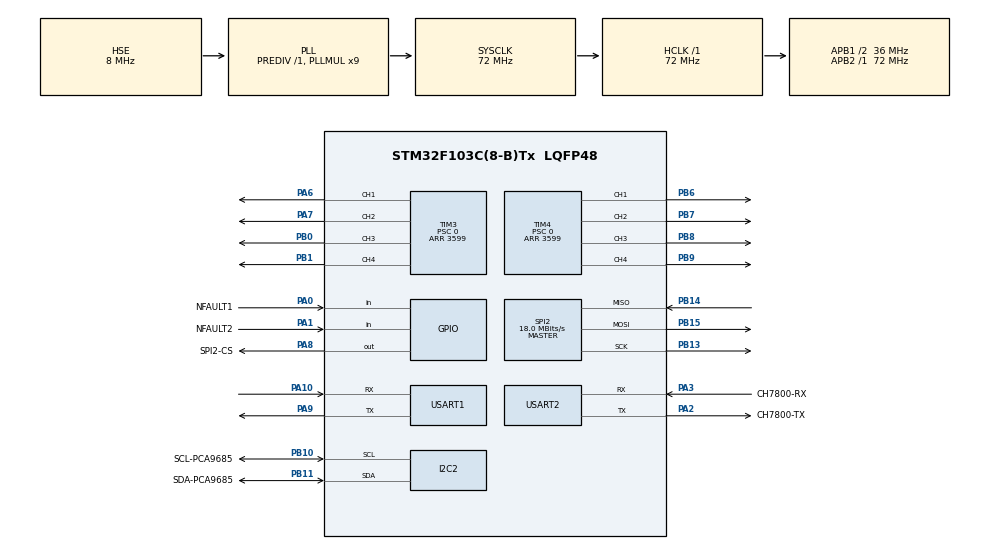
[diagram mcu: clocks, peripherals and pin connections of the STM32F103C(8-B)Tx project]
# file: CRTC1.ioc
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Mcu.Family=STM32F1
Mcu.Name=STM32F103C(8-B)Tx
Mcu.Package=LQFP48
NVIC.PriorityGroup=NVIC_PRIORITYGROUP_4
PA0-WKUP.GPIO_Label=NFAULT1
PA0-WKUP.Signal=GPIO_Input
PA1.GPIO_Label=NFAULT2
PA1.Signal=GPIO_Input
PA10.Mode=Asynchronous
PA10.Signal=USART1_RX
PA13.Mode=Serial_Wire
PA13.Signal=SYS_JTMS-SWDIO
PA14.Mode=Serial_Wire
PA14.Signal=SYS_JTCK-SWCLK
PA2.GPIO_Label=CH7800-TX
PA2.Mode=Asynchronous
PA2.Signal=USART2_TX
PA3.GPIO_Label=CH7800-RX
PA3.Mode=Asynchronous
PA3.Signal=USART2_RX
PA6.Signal=S_TIM3_CH1
PA7.Signal=S_TIM3_CH2
PA8.GPIO_Label=SPI2-CS
PA8.Signal=GPIO_Output
PA9.Mode=Asynchronous
PA9.Signal=USART1_TX
PB0.Signal=S_TIM3_CH3
PB1.Signal=S_TIM3_CH4
PB10.GPIO_Label=SCL-PCA9685
PB10.Mode=I2C
PB10.Signal=I2C2_SCL
PB11.GPIO_Label=SDA-PCA9685
PB11.Mode=I2C
PB11.Signal=I2C2_SDA
PB13.Mode=Full_Duplex_Master
PB13.Signal=SPI2_SCK
PB14.Mode=Full_Duplex_Master
PB14.Signal=SPI2_MISO
PB15.Mode=Full_Duplex_Master
PB15.Signal=SPI2_MOSI
PB6.Signal=S_TIM4_CH1
PB7.Signal=S_TIM4_CH2
PB8.Signal=S_TIM4_CH3
PB9.Signal=S_TIM4_CH4
PD0-OSC_IN.Mode=HSE-External-Oscillator
PD0-OSC_IN.Signal=RCC_OSC_IN
PD1-OSC_OUT.Mode=HSE-External-Oscillator
PD1-OSC_OUT.Signal=RCC_OSC_OUT
ProjectManager.HeapSize=0x200
ProjectManager.StackSize=0x400
ProjectManager.TargetToolchain=MDK-ARM V5.39
RCC.ADCPresc=RCC_ADCPCLK2_DIV6
RCC.AHBFreq_Value=72000000
RCC.APB1CLKDivider=RCC_HCLK_DIV2
RCC.APB1Freq_Value=36000000
RCC.APB1TimFreq_Value=72000000
RCC.APB2Freq_Value=72000000
RCC.APB2TimFreq_Value=72000000
RCC.HCLKFreq_Value=72000000
RCC.PLLMUL=RCC_PLL_MUL9
RCC.PLLSourceVirtual=RCC_PLLSOURCE_HSE
RCC.SYSCLKFreq_VALUE=72000000
RCC.SYSCLKSource=RCC_SYSCLKSOURCE_PLLCLK
RCC.USBFreq_Value=72000000
SH.S_TIM3_CH1.0=TIM3_CH1,PWM Generation1 CH1
SH.S_TIM3_CH2.0=TIM3_CH2,PWM Generation2 CH2
SH.S_TIM3_CH3.0=TIM3_CH3,PWM Generation3 CH3
SH.S_TIM3_CH4.0=TIM3_CH4,PWM Generation4 CH4
SH.S_TIM4_CH1.0=TIM4_CH1,PWM Generation1 CH1
SH.S_TIM4_CH2.0=TIM4_CH2,PWM Generation2 CH2
SH.S_TIM4_CH3.0=TIM4_CH3,PWM Generation3 CH3
SH.S_TIM4_CH4.0=TIM4_CH4,PWM Generation4 CH4
SPI2.BaudRatePrescaler=SPI_BAUDRATEPRESCALER_2
SPI2.CLKPhase=SPI_PHASE_2EDGE
SPI2.CLKPolarity=SPI_POLARITY_HIGH
SPI2.CalculateBaudRate=18.0 MBits/s
SPI2.Direction=SPI_DIRECTION_2LINES
SPI2.Mode=SPI_MODE_MASTER
SPI2.VirtualType=VM_MASTER
TIM3.Channel-PWM\ Generation1\ CH1=TIM_CHANNEL_1
TIM3.Channel-PWM\ Generation2\ CH2=TIM_CHANNEL_2
TIM3.Channel-PWM\ Generation3\ CH3=TIM_CHANNEL_3
TIM3.Channel-PWM\ Generation4\ CH4=TIM_CHANNEL_4
TIM3.Period=3599
TIM3.Prescaler=0
TIM4.Channel-PWM\ Generation1\ CH1=TIM_CHANNEL_1
TIM4.Channel-PWM\ Generation2\ CH2=TIM_CHANNEL_2
TIM4.Channel-PWM\ Generation3\ CH3=TIM_CHANNEL_3
TIM4.Channel-PWM\ Generation4\ CH4=TIM_CHANNEL_4
TIM4.Period=3599
TIM4.Prescaler=0
USART1.VirtualMode=VM_ASYNC
USART2.VirtualMode=VM_ASYNC
board=custom

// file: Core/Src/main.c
/* USER CODE BEGIN Header */
/**
  ******************************************************************************
  * @file           : main.c
  * @brief          : Main program body
  ******************************************************************************
  * @attention
  *
  * Copyright (c) 2026 STMicroelectronics.
  * All rights reserved.
  *
  * This software is licensed under terms that can be found in the LICENSE file
  * in the root directory of this software component.
  * If no LICENSE file comes with this software, it is provided AS-IS.
  *
  ******************************************************************************
  */
/* USER CODE END Header */
#include "main.h"

/* USER CODE BEGIN Includes */
#include <stdio.h>
#include <stdarg.h>
#include "pca9685.h"
#include "drv8833.h"
#include "car_ctrl.h"
#include "ps2.h"
#include "ps2_ctrl.h"
#include "arm_ctrl.h"
/* USER CODE END Includes */

/* USER CODE BEGIN PD */
/* TRYONE 原样搬来的参数（PCA9685 舵机驱动）*/
#define PCA9685_ADDR          (0x40U)     /* A0=A1=A2=000 -> 7-bit 0x40 */
#define PCA9685_FREQ_HZ       ((float)CAR_SERVO_PWM_FREQ_HZ)
/* USER CODE END PD */

I2C_HandleTypeDef hi2c2;

SPI_HandleTypeDef hspi2;

TIM_HandleTypeDef htim3;
TIM_HandleTypeDef htim4;

UART_HandleTypeDef huart1;
UART_HandleTypeDef huart2;

/* USER CODE BEGIN PV */
uint8_t pca9685_ready = 0U;   /* 1 = 初始化成功，可以发命令 */
/* USER CODE END PV */

void SystemClock_Config(void);
static void MX_GPIO_Init(void);
static void MX_I2C2_Init(void);
static void MX_SPI2_Init(void);
static void MX_USART2_UART_Init(void);
static void MX_USART1_UART_Init(void);
static void MX_TIM3_Init(void);
static void MX_TIM4_Init(void);

/* USER CODE BEGIN 0 */
/* ---- USART1 调试打印：PA9 = TX，115200 8N1 ----
 * 写法与 TRYONE 工程一致：先 vsnprintf 到栈上缓冲，再阻塞发送。
 * 单条消息不要超过 UART_TX_BUF，超了会被截断。 */
#define UART_TX_BUF  (160U)

static void UART_Printf(const char *fmt, ...)
{
  char buf[UART_TX_BUF];
  va_list ap;
  int len;

  va_start(ap, fmt);
  len = vsnprintf(buf, sizeof(buf), fmt, ap);
  va_end(ap);

  if (len <= 0)
  {
    return;
  }
  if ((size_t)len >= sizeof(buf))
  {
    len = (int)(sizeof(buf) - 1U);
  }

  (void)HAL_UART_Transmit(&huart1, (uint8_t *)buf, (uint16_t)len, 100U);
}
/* USER CODE END 0 */

int main(void)
{

  /* MCU Configuration--------------------------------------------------------*/

  /* Reset of all peripherals, Initializes the Flash interface and the Systick. */
  HAL_Init();

  /* Configure the system clock */
  SystemClock_Config();

  /* Initialize all configured peripherals */
  MX_GPIO_Init();
  MX_I2C2_Init();
  MX_SPI2_Init();
  MX_USART2_UART_Init();
  MX_USART1_UART_Init();
  MX_TIM3_Init();
  MX_TIM4_Init();
  /* USER CODE BEGIN 2 */
  /* ---- PCA9685 舵机驱动初始化（TRYONE 原样搬来）----
   * I2C2 已由 CubeMX 初始化为 100 kHz，PB10(SCL) / PB11(SDA)。
   * 这里直接对 0x40 发初始化序列：MODE1/MODE2 寄存器 + 50 Hz PWM 频率。
   * 如果板子没接或接线错，pca9685_ready 保持 0，while 循环就不会发命令。 */
  if (PCA9685_Init(&hi2c2, PCA9685_ADDR) == HAL_OK &&
      PCA9685_SetPwmFreq(&hi2c2, PCA9685_ADDR, PCA9685_FREQ_HZ) == HAL_OK &&
      PCA9685_AllOff(&hi2c2, PCA9685_ADDR) == HAL_OK)
  {
    pca9685_ready = 1U;
  }

  /* ---- DRV8833 电机驱动初始化 ----
   * TIM3(左) / TIM4(右) 各 4 路 20 kHz PWM，
   * PA0/PA1 配成下降沿中断（NFAULT 低电平 = 故障）。 */
  DRV8833_Init();

  /* ---- PS2 手柄初始化（GPIO 模拟 SPI，PB13/14/15 + PA8）----
   * PS2_Ctrl_Init() 内部会调用 PS2_Init() 和 PS2_ConfigAnalog()，
   * 把引脚从 CubeMX 的 SPI2 复用功能改成 GPIO，并让手柄进入模拟模式。
   * 摇杆与机械臂按键始终同时生效，无需切换模式。 */
  PS2_Ctrl_Init();

  /* ---- USART1 上电自检快照（PA9=TX / PA10=RX，115200 8N1）---- */
  UART_Printf("\r\n=== CRTC1 boot | DRV8833 %s | PCA9685 %s | PS2 ready ===\r\n",
              DRV8833_VERSION, (pca9685_ready ? "ready" : "NOT FOUND"));

  UART_Printf("[PWM] TIM3 ARR=%u PSC=%u | TIM4 ARR=%u PSC=%u -> 20 kHz, 8 channels started\r\n",
              (unsigned)__HAL_TIM_GET_AUTORELOAD(&htim3), (unsigned)htim3.Instance->PSC,
              (unsigned)__HAL_TIM_GET_AUTORELOAD(&htim4), (unsigned)htim4.Instance->PSC);

  UART_Printf("[FLT] idle levels: PA0/LEFT=%u  PA1/RIGHT=%u  (1=normal, 0=fault or floating)\r\n",
              (unsigned)HAL_GPIO_ReadPin(NFAULT1_GPIO_Port, NFAULT1_Pin),
              (unsigned)HAL_GPIO_ReadPin(NFAULT2_GPIO_Port, NFAULT2_Pin));
  /* USER CODE END 2 */

  /* Infinite loop */
  while (1)
  {

    /* USER CODE BEGIN 3 */
    /* ================= 上层逻辑：PS2 并行控制 =================
     * PS2_Ctrl_Update() 内部流程：
     *   1. PS2_Read() 读手柄
     *   2. 摇杆开车，肩键/叉号同时操作机械臂，SELECT 不参与控制
     *   3. 调抽象命令 Car_Motor* / Car_Servo*
     * 读不到手柄时底盘刹车，舵机保持最后位置；重连后需先松开机械臂按键。 */
    PS2_Ctrl_Update();

    /* ---- USART1 诊断：每 500 ms 打印摇杆、底盘和机械臂指令 ----
     * cnt = nFAULT 下降沿累计次数（真进过几次 EXTI0/EXTI1 中断），
     * pin = 当前引脚电平（1=正常，0=正在报故障或线悬空）。
     * CCR 是真正写进定时器的比较值，有速度时应该是非 0。 */

    {
      static uint32_t d_t0 = 0U;
      uint32_t now = HAL_GetTick();
      const PS2_t *input = PS2_Ctrl_GetInput();
      const arm_ctrl_status_t *arm = Arm_Ctrl_GetStatus();

      if ((now - d_t0) >= 500U)
      {
        d_t0 = now;

        UART_Printf("[PS2] raw LX=%u LY=%u RX=%u ok=%u DZ=%u\r\n",
                    (unsigned)input->LJoy_LR, (unsigned)input->LJoy_UD,
                    (unsigned)input->RJoy_LR, (unsigned)input->ok,
                    (unsigned)PS2_DEADZONE);

        UART_Printf("[DRV] spd=%d,%d,%d,%d | FLT L f=%u n=%u p=%u | R f=%u n=%u p=%u\r\n",
                    DRV8833_GetMotor(DRV8833_MOTOR_LF), DRV8833_GetMotor(DRV8833_MOTOR_LR),
                    DRV8833_GetMotor(DRV8833_MOTOR_RF), DRV8833_GetMotor(DRV8833_MOTOR_RR),
                    (unsigned)DRV8833_GetFault(DRV8833_SIDE_LEFT),
                    (unsigned)DRV8833_GetFaultCount(DRV8833_SIDE_LEFT),
                    (unsigned)HAL_GPIO_ReadPin(NFAULT1_GPIO_Port, NFAULT1_Pin),
                    (unsigned)DRV8833_GetFault(DRV8833_SIDE_RIGHT),
                    (unsigned)DRV8833_GetFaultCount(DRV8833_SIDE_RIGHT),
                    (unsigned)HAL_GPIO_ReadPin(NFAULT2_GPIO_Port, NFAULT2_Pin));

        UART_Printf("[PWM] T3 CCR=%u,%u,%u,%u | T4 CCR=%u,%u,%u,%u\r\n",
                    (unsigned)__HAL_TIM_GET_COMPARE(&htim3, TIM_CHANNEL_1),
                    (unsigned)__HAL_TIM_GET_COMPARE(&htim3, TIM_CHANNEL_2),
                    (unsigned)__HAL_TIM_GET_COMPARE(&htim3, TIM_CHANNEL_3),
                    (unsigned)__HAL_TIM_GET_COMPARE(&htim3, TIM_CHANNEL_4),
                    (unsigned)__HAL_TIM_GET_COMPARE(&htim4, TIM_CHANNEL_1),
                    (unsigned)__HAL_TIM_GET_COMPARE(&htim4, TIM_CHANNEL_2),
                    (unsigned)__HAL_TIM_GET_COMPARE(&htim4, TIM_CHANNEL_3),
                    (unsigned)__HAL_TIM_GET_COMPARE(&htim4, TIM_CHANNEL_4));

        UART_Printf("[ARM] A0x10=%u A1x10=%u A2x10=%u A3x10=%u open=%u ready=%u status=%u\r\n",
                    (unsigned)arm->angle_x10[0],
                    (unsigned)arm->angle_x10[1], (unsigned)arm->angle_x10[2],
                    (unsigned)arm->angle_x10[3],
                    (unsigned)arm->claw_open, (unsigned)arm->ready_mask,
                    (unsigned)arm->last_status);
      }
    }

    HAL_Delay(20U);
  }
  /* USER CODE END 3 */
}

void SystemClock_Config(void)
{
  RCC_OscInitTypeDef RCC_OscInitStruct = {0};
  RCC_ClkInitTypeDef RCC_ClkInitStruct = {0};

  /** Initializes the RCC Oscillators according to the specified parameters
  * in the RCC_OscInitTypeDef structure.
  */
  RCC_OscInitStruct.OscillatorType = RCC_OSCILLATORTYPE_HSE;
  RCC_OscInitStruct.HSEState = RCC_HSE_ON;
  RCC_OscInitStruct.HSEPredivValue = RCC_HSE_PREDIV_DIV1;
  RCC_OscInitStruct.HSIState = RCC_HSI_ON;
  RCC_OscInitStruct.PLL.PLLState = RCC_PLL_ON;
  RCC_OscInitStruct.PLL.PLLSource = RCC_PLLSOURCE_HSE;
  RCC_OscInitStruct.PLL.PLLMUL = RCC_PLL_MUL9;
  if (HAL_RCC_OscConfig(&RCC_OscInitStruct) != HAL_OK)
  {
    Error_Handler();
  }

  /** Initializes the CPU, AHB and APB buses clocks
  */
  RCC_ClkInitStruct.ClockType = RCC_CLOCKTYPE_HCLK|RCC_CLOCKTYPE_SYSCLK
                              |RCC_CLOCKTYPE_PCLK1|RCC_CLOCKTYPE_PCLK2;
  RCC_ClkInitStruct.SYSCLKSource = RCC_SYSCLKSOURCE_PLLCLK;
  RCC_ClkInitStruct.AHBCLKDivider = RCC_SYSCLK_DIV1;
  RCC_ClkInitStruct.APB1CLKDivider = RCC_HCLK_DIV2;
  RCC_ClkInitStruct.APB2CLKDivider = RCC_HCLK_DIV1;

  if (HAL_RCC_ClockConfig(&RCC_ClkInitStruct, FLASH_LATENCY_2) != HAL_OK)
  {
    Error_Handler();
  }
}

static void MX_I2C2_Init(void)
{

  hi2c2.Instance = I2C2;
  hi2c2.Init.ClockSpeed = 100000;
  hi2c2.Init.DutyCycle = I2C_DUTYCYCLE_2;
  hi2c2.Init.OwnAddress1 = 0;
  hi2c2.Init.AddressingMode = I2C_ADDRESSINGMODE_7BIT;
  hi2c2.Init.DualAddressMode = I2C_DUALADDRESS_DISABLE;
  hi2c2.Init.OwnAddress2 = 0;
  hi2c2.Init.GeneralCallMode = I2C_GENERALCALL_DISABLE;
  hi2c2.Init.NoStretchMode = I2C_NOSTRETCH_DISABLE;
  if (HAL_I2C_Init(&hi2c2) != HAL_OK)
  {
    Error_Handler();
  }

}

static void MX_SPI2_Init(void)
{

  /* SPI2 parameter configuration*/
  hspi2.Instance = SPI2;
  hspi2.Init.Mode = SPI_MODE_MASTER;
  hspi2.Init.Direction = SPI_DIRECTION_2LINES;
  hspi2.Init.DataSize = SPI_DATASIZE_8BIT;
  hspi2.Init.CLKPolarity = SPI_POLARITY_HIGH;
  hspi2.Init.CLKPhase = SPI_PHASE_2EDGE;
  hspi2.Init.NSS = SPI_NSS_SOFT;
  hspi2.Init.BaudRatePrescaler = SPI_BAUDRATEPRESCALER_2;
  hspi2.Init.FirstBit = SPI_FIRSTBIT_MSB;
  hspi2.Init.TIMode = SPI_TIMODE_DISABLE;
  hspi2.Init.CRCCalculation = SPI_CRCCALCULATION_DISABLE;
  hspi2.Init.CRCPolynomial = 10;
  if (HAL_SPI_Init(&hspi2) != HAL_OK)
  {
    Error_Handler();
  }

}

static void MX_TIM3_Init(void)
{

  TIM_MasterConfigTypeDef sMasterConfig = {0};
  TIM_OC_InitTypeDef sConfigOC = {0};

  htim3.Instance = TIM3;
  htim3.Init.Prescaler = 0;
  htim3.Init.CounterMode = TIM_COUNTERMODE_UP;
  htim3.Init.Period = 3599;
  htim3.Init.ClockDivision = TIM_CLOCKDIVISION_DIV1;
  htim3.Init.AutoReloadPreload = TIM_AUTORELOAD_PRELOAD_DISABLE;
  if (HAL_TIM_PWM_Init(&htim3) != HAL_OK)
  {
    Error_Handler();
  }
  sMasterConfig.MasterOutputTrigger = TIM_TRGO_RESET;
  sMasterConfig.MasterSlaveMode = TIM_MASTERSLAVEMODE_DISABLE;
  if (HAL_TIMEx_MasterConfigSynchronization(&htim3, &sMasterConfig) != HAL_OK)
  {
    Error_Handler();
  }
  sConfigOC.OCMode = TIM_OCMODE_PWM1;
  sConfigOC.Pulse = 0;
  sConfigOC.OCPolarity = TIM_OCPOLARITY_HIGH;
  sConfigOC.OCFastMode = TIM_OCFAST_DISABLE;
  if (HAL_TIM_PWM_ConfigChannel(&htim3, &sConfigOC, TIM_CHANNEL_1) != HAL_OK)
  {
    Error_Handler();
  }
  if (HAL_TIM_PWM_ConfigChannel(&htim3, &sConfigOC, TIM_CHANNEL_2) != HAL_OK)
  {
    Error_Handler();
  }
  if (HAL_TIM_PWM_ConfigChannel(&htim3, &sConfigOC, TIM_CHANNEL_3) != HAL_OK)
  {
    Error_Handler();
  }
  if (HAL_TIM_PWM_ConfigChannel(&htim3, &sConfigOC, TIM_CHANNEL_4) != HAL_OK)
  {
    Error_Handler();
  }
  HAL_TIM_MspPostInit(&htim3);

}

static void MX_TIM4_Init(void)
{

  TIM_MasterConfigTypeDef sMasterConfig = {0};
  TIM_OC_InitTypeDef sConfigOC = {0};

  htim4.Instance = TIM4;
  htim4.Init.Prescaler = 0;
  htim4.Init.CounterMode = TIM_COUNTERMODE_UP;
  htim4.Init.Period = 3599;
  htim4.Init.ClockDivision = TIM_CLOCKDIVISION_DIV1;
  htim4.Init.AutoReloadPreload = TIM_AUTORELOAD_PRELOAD_DISABLE;
  if (HAL_TIM_PWM_Init(&htim4) != HAL_OK)
  {
    Error_Handler();
  }
  sMasterConfig.MasterOutputTrigger = TIM_TRGO_RESET;
  sMasterConfig.MasterSlaveMode = TIM_MASTERSLAVEMODE_DISABLE;
  if (HAL_TIMEx_MasterConfigSynchronization(&htim4, &sMasterConfig) != HAL_OK)
  {
    Error_Handler();
  }
  sConfigOC.OCMode = TIM_OCMODE_PWM1;
  sConfigOC.Pulse = 0;
  sConfigOC.OCPolarity = TIM_OCPOLARITY_HIGH;
  sConfigOC.OCFastMode = TIM_OCFAST_DISABLE;
  if (HAL_TIM_PWM_ConfigChannel(&htim4, &sConfigOC, TIM_CHANNEL_1) != HAL_OK)
  {
    Error_Handler();
  }
  if (HAL_TIM_PWM_ConfigChannel(&htim4, &sConfigOC, TIM_CHANNEL_2) != HAL_OK)
  {
    Error_Handler();
  }
  if (HAL_TIM_PWM_ConfigChannel(&htim4, &sConfigOC, TIM_CHANNEL_3) != HAL_OK)
  {
    Error_Handler();
  }
  if (HAL_TIM_PWM_ConfigChannel(&htim4, &sConfigOC, TIM_CHANNEL_4) != HAL_OK)
  {
    Error_Handler();
  }
  HAL_TIM_MspPostInit(&htim4);

}

static void MX_USART1_UART_Init(void)
{

  huart1.Instance = USART1;
  huart1.Init.BaudRate = 115200;
  huart1.Init.WordLength = UART_WORDLENGTH_8B;
  huart1.Init.StopBits = UART_STOPBITS_1;
  huart1.Init.Parity = UART_PARITY_NONE;
  huart1.Init.Mode = UART_MODE_TX_RX;
  huart1.Init.HwFlowCtl = UART_HWCONTROL_NONE;
  huart1.Init.OverSampling = UART_OVERSAMPLING_16;
  if (HAL_UART_Init(&huart1) != HAL_OK)
  {
    Error_Handler();
  }

}

static void MX_USART2_UART_Init(void)
{

  huart2.Instance = USART2;
  huart2.Init.BaudRate = 115200;
  huart2.Init.WordLength = UART_WORDLENGTH_8B;
  huart2.Init.StopBits = UART_STOPBITS_1;
  huart2.Init.Parity = UART_PARITY_NONE;
  huart2.Init.Mode = UART_MODE_TX_RX;
  huart2.Init.HwFlowCtl = UART_HWCONTROL_NONE;
  huart2.Init.OverSampling = UART_OVERSAMPLING_16;
  if (HAL_UART_Init(&huart2) != HAL_OK)
  {
    Error_Handler();
  }

}

static void MX_GPIO_Init(void)
{
  GPIO_InitTypeDef GPIO_InitStruct = {0};

  /* GPIO Ports Clock Enable */
  __HAL_RCC_GPIOD_CLK_ENABLE();
  __HAL_RCC_GPIOA_CLK_ENABLE();
  __HAL_RCC_GPIOB_CLK_ENABLE();

  /*Configure GPIO pin Output Level */
  HAL_GPIO_WritePin(SPI2_CS_GPIO_Port, SPI2_CS_Pin, GPIO_PIN_RESET);

  /*Configure GPIO pins : NFAULT1_Pin NFAULT2_Pin */
  GPIO_InitStruct.Pin = NFAULT1_Pin|NFAULT2_Pin;
  GPIO_InitStruct.Mode = GPIO_MODE_INPUT;
  GPIO_InitStruct.Pull = GPIO_NOPULL;
  HAL_GPIO_Init(GPIOA, &GPIO_InitStruct);

  /*Configure GPIO pin : SPI2_CS_Pin */
  GPIO_InitStruct.Pin = SPI2_CS_Pin;
  GPIO_InitStruct.Mode = GPIO_MODE_OUTPUT_PP;
  GPIO_InitStruct.Pull = GPIO_NOPULL;
  GPIO_InitStruct.Speed = GPIO_SPEED_FREQ_LOW;
  HAL_GPIO_Init(SPI2_CS_GPIO_Port, &GPIO_InitStruct);

}

void Error_Handler(void)
{
  __disable_irq();
  while (1)
  {
  }
}
